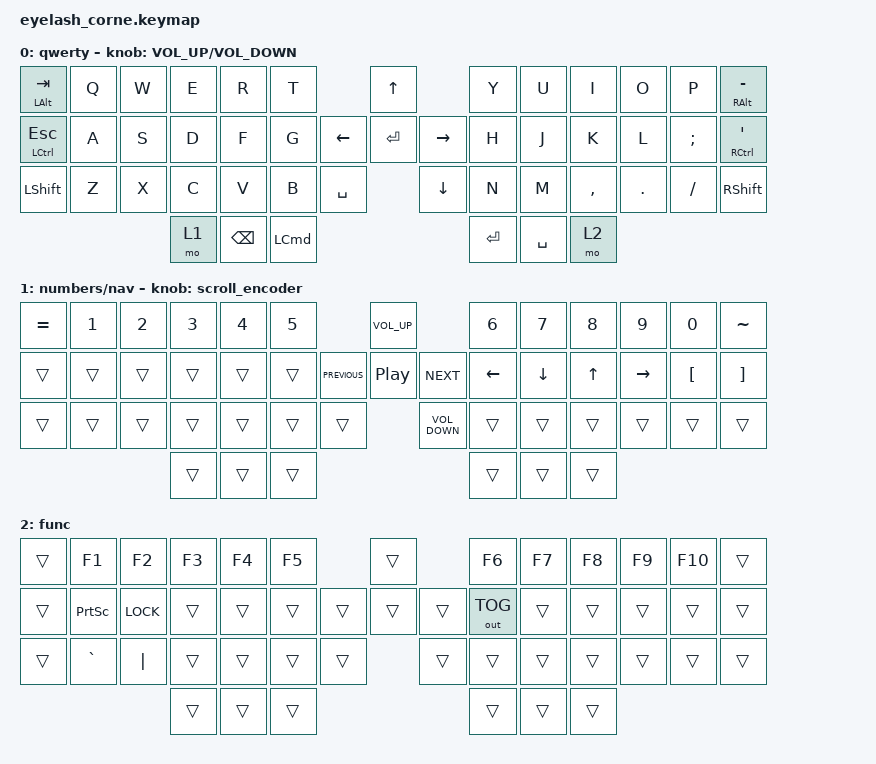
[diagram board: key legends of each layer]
#include <input/processors.dtsi>
#include <dt-bindings/zmk/mouse.h>
#include <behaviors.dtsi>
#include <dt-bindings/zmk/keys.h>
#include <dt-bindings/zmk/outputs.h>
#include <dt-bindings/zmk/pointing.h>
#include <dt-bindings/zmk/rgb.h>

/*

   &mmv_input_listener {
       input-processors = <&zip_xy_scaler 2 1>;
   };

   &msc_input_listener {
       input-processors = <&zip_xy_scaler 2 1>;
   };

 */

#define ZMK_MOUSE_DEFAULT_MOVE_VAL 1200  // 600
#define ZMK_MOUSE_DEFAULT_SCRL_VAL 20    // 10

/ {
    behaviors {
        td0: td0 {
            compatible = "zmk,behavior-tap-dance";
            display-name = "Shift/Caps Lock Tap Dance";
            #binding-cells = <0>;
            bindings = <&kp LEFT_SHIFT>, <&kp CAPS>;
        };

        esc_ctrl: esc_ctrl {
            compatible = "zmk,behavior-hold-tap";
            label = "ESC_CTRL";
            bindings = <&kp>, <&kp>;

            #binding-cells = <2>;
            flavor = "tap-preferred";
            tapping-term-ms = <200>;
        };
    };

    rgb_encoder: rgb_encoder {
        compatible = "zmk,behavior-sensor-rotate";
        #sensor-binding-cells = <0>;
        bindings = <&rgb_ug RGB_BRI>, <&rgb_ug RGB_BRD>;
    };

    scroll_encoder: scroll_encoder {
        compatible = "zmk,behavior-sensor-rotate";
        #sensor-binding-cells = <0>;
        bindings = <&msc SCRL_DOWN>, <&msc SCRL_UP>;

        tap-ms = <30>;
    };

    keymap {
        compatible = "zmk,keymap";

        default_layer {
            display-name = "qwerty";
            bindings = <
&mt LEFT_ALT TAB  &kp Q  &kp W  &kp E  &kp R          &kp T                                    &kp UP                &kp Y      &kp U      &kp I      &kp O    &kp P     &mt RIGHT_ALT MINUS
&mt LCTRL ESCAPE  &kp A  &kp S  &kp D  &kp F          &kp G                          &kp LEFT  &kp ENTER  &kp RIGHT  &kp H      &kp J      &kp K      &kp L    &kp SEMI  &mt RIGHT_CONTROL SQT
&kp LEFT_SHIFT    &kp Z  &kp X  &kp C  &kp V          &kp B             &kp SPACE              &kp DOWN              &kp N      &kp M      &kp COMMA  &kp DOT  &kp FSLH  &kp RIGHT_SHIFT
                                &mo 1  &kp BACKSPACE  &kp LEFT_COMMAND                                               &kp ENTER  &kp SPACE  &mo 2
            >;

            sensor-bindings = <&inc_dec_kp C_VOLUME_UP C_VOLUME_DOWN>;
        };

        lower_layer {
            display-name = "numbers/nav";
            bindings = <
&kp EQUAL  &kp N1  &kp N2  &kp N3  &kp N4  &kp N5                            &kp C_VOLUME_UP                &kp N6    &kp N7    &kp N8  &kp N9     &kp N0            &kp TILDE
&trans     &trans  &trans  &trans  &trans  &trans            &kp C_PREVIOUS  &kp C_PLAY_PAUSE   &kp C_NEXT  &kp LEFT  &kp DOWN  &kp UP  &kp RIGHT  &kp LEFT_BRACKET  &kp RIGHT_BRACKET
&trans     &trans  &trans  &trans  &trans  &trans  &trans                    &kp C_VOLUME_DOWN              &trans    &trans    &trans  &trans     &trans            &trans
                           &trans  &trans  &trans                                                           &trans    &trans    &trans
            >;

            sensor-bindings = <&scroll_encoder>;
        };

        upper_layer {
            bindings = <
&trans  &kp F1           &kp F2      &kp F3  &kp F4  &kp F5                    &trans          &kp F6        &kp F7  &kp F8  &kp F9  &kp F10  &trans
&trans  &kp PRINTSCREEN  &kp K_LOCK  &trans  &trans  &trans            &trans  &trans  &trans  &out OUT_TOG  &trans  &trans  &trans  &trans   &trans
&trans  &kp GRAVE        &kp PIPE    &trans  &trans  &trans  &trans            &trans          &trans        &trans  &trans  &trans  &trans   &trans
                                     &trans  &trans  &trans                                    &trans        &trans  &trans
            >;

            label = "func";
        };
    };
};
